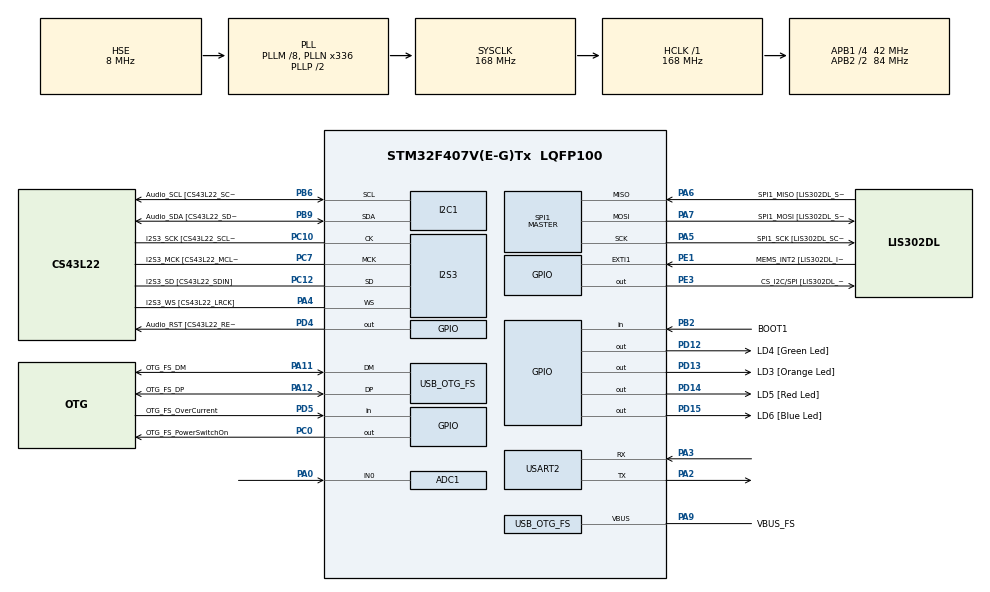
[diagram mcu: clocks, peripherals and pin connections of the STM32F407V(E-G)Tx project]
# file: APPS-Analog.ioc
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ADC1.Channel-0\#ChannelRegularConversion=ADC_CHANNEL_0
ADC1.NbrOfConversionFlag=1
ADC1.Rank-0\#ChannelRegularConversion=1
ADC1.SamplingTime-0\#ChannelRegularConversion=ADC_SAMPLETIME_3CYCLES
ADC1.master=1
I2S3.AudioFreq-Half_Duplex_Master=I2S_AUDIOFREQ_96K
I2S3.ErrorAudioFreq=-2.34 %
I2S3.ErrorAudioFreq-Half_Duplex_Master=0.8 %
I2S3.FullDuplexMode=I2S_FULLDUPLEXMODE_DISABLE
I2S3.Instance=SPI$Index
I2S3.RealAudioFreq=93.75 KHz
I2S3.RealAudioFreq-Half_Duplex_Master=96.774 KHz
I2S3.VirtualMode=I2S_MODE_MASTER
Mcu.Family=STM32F4
Mcu.Name=STM32F407V(E-G)Tx
Mcu.Package=LQFP100
NVIC.OTG_FS_IRQn=true\:0\:0\:false\:false\:true\:true\:true
NVIC.PriorityGroup=NVIC_PRIORITYGROUP_0
PA0-WKUP.Signal=ADCx_IN0
PA10.GPIO_Label=OTG_FS_ID
PA10.GPIO_Mode=GPIO_MODE_AF_PP
PA10.GPIO_PuPd=GPIO_NOPULL
PA10.GPIO_Speed=GPIO_SPEED_FREQ_LOW
PA10.Signal=USB_OTG_FS_ID
PA11.GPIO_Label=OTG_FS_DM
PA11.GPIO_Mode=GPIO_MODE_AF_PP
PA11.GPIO_PuPd=GPIO_NOPULL
PA11.GPIO_Speed=GPIO_SPEED_FREQ_LOW
PA11.Mode=Host_Only
PA11.Signal=USB_OTG_FS_DM
PA12.GPIO_Label=OTG_FS_DP
PA12.GPIO_Mode=GPIO_MODE_AF_PP
PA12.GPIO_PuPd=GPIO_NOPULL
PA12.GPIO_Speed=GPIO_SPEED_FREQ_LOW
PA12.Mode=Host_Only
PA12.Signal=USB_OTG_FS_DP
PA13.GPIO_Label=SWDIO
PA13.Mode=Serial_Wire
PA13.Signal=SYS_JTMS-SWDIO
PA14.GPIO_Label=SWCLK
PA14.Mode=Serial_Wire
PA14.Signal=SYS_JTCK-SWCLK
PA2.Mode=Asynchronous
PA2.Signal=USART2_TX
PA3.Mode=Asynchronous
PA3.Signal=USART2_RX
PA4.GPIO_Label=I2S3_WS [CS43L22_LRCK]
PA4.GPIO_Mode=GPIO_MODE_AF_PP
PA4.GPIO_PuPd=GPIO_NOPULL
PA4.GPIO_Speed=GPIO_SPEED_FREQ_LOW
PA4.Mode=Half_Duplex_Master
PA4.Signal=I2S3_WS
PA5.GPIO_Label=SPI1_SCK [LIS302DL_SCL/SPC]
PA5.GPIO_Mode=GPIO_MODE_AF_PP
PA5.GPIO_PuPd=GPIO_NOPULL
PA5.GPIO_Speed=GPIO_SPEED_FREQ_LOW
PA5.Mode=Full_Duplex_Master
PA5.Signal=SPI1_SCK
PA6.GPIO_Label=SPI1_MISO [LIS302DL_SDO]
PA6.GPIO_Mode=GPIO_MODE_AF_PP
PA6.GPIO_PuPd=GPIO_NOPULL
PA6.GPIO_Speed=GPIO_SPEED_FREQ_LOW
PA6.Mode=Full_Duplex_Master
PA6.Signal=SPI1_MISO
PA7.GPIO_Label=SPI1_MOSI [LIS302DL_SDA/SDI/SDO]
PA7.GPIO_Mode=GPIO_MODE_AF_PP
PA7.GPIO_PuPd=GPIO_NOPULL
PA7.GPIO_Speed=GPIO_SPEED_FREQ_LOW
PA7.Mode=Full_Duplex_Master
PA7.Signal=SPI1_MOSI
PA9.GPIO_Label=VBUS_FS
PA9.GPIO_Mode=GPIO_MODE_INPUT
PA9.GPIO_PuPd=GPIO_NOPULL
PA9.Mode=Activate_VBUS
PA9.Signal=USB_OTG_FS_VBUS
PB10.GPIO_Label=CLK_IN [MP45DT02_CLK]
PB10.GPIO_Mode=GPIO_MODE_AF_PP
PB10.GPIO_PuPd=GPIO_NOPULL
PB10.GPIO_Speed=GPIO_SPEED_FREQ_LOW
PB10.Signal=I2S2_CK
PB2.GPIO_Label=BOOT1
PB2.GPIO_Mode=GPIO_MODE_INPUT
PB2.GPIO_PuPd=GPIO_NOPULL
PB2.Signal=GPIO_Input
PB3.GPIO_Label=SWO
PB3.Signal=SYS_JTDO-SWO
PB6.GPIO_Label=Audio_SCL [CS43L22_SCL]
PB6.GPIO_Mode=GPIO_MODE_AF_OD
PB6.GPIO_PuPd=GPIO_NOPULL
PB6.GPIO_Speed=GPIO_SPEED_FREQ_LOW
PB6.Mode=I2C
PB6.Signal=I2C1_SCL
PB9.GPIO_Label=Audio_SDA [CS43L22_SDA]
PB9.GPIO_Mode=GPIO_MODE_AF_OD
PB9.GPIO_PuPd=GPIO_NOPULL
PB9.GPIO_Speed=GPIO_SPEED_FREQ_LOW
PB9.Mode=I2C
PB9.Signal=I2C1_SDA
PC0.GPIO_Label=OTG_FS_PowerSwitchOn
PC0.GPIO_PuPd=GPIO_NOPULL
PC0.GPIO_Speed=GPIO_SPEED_FREQ_LOW
PC0.PinState=GPIO_PIN_SET
PC0.Signal=GPIO_Output
PC10.GPIO_Label=I2S3_SCK [CS43L22_SCLK]
PC10.GPIO_Mode=GPIO_MODE_AF_PP
PC10.GPIO_PuPd=GPIO_NOPULL
PC10.GPIO_Speed=GPIO_SPEED_FREQ_LOW
PC10.Mode=Half_Duplex_Master
PC10.Signal=I2S3_CK
PC12.GPIO_Label=I2S3_SD [CS43L22_SDIN]
PC12.GPIO_Mode=GPIO_MODE_AF_PP
PC12.GPIO_PuPd=GPIO_NOPULL
PC12.GPIO_Speed=GPIO_SPEED_FREQ_LOW
PC12.Mode=Half_Duplex_Master
PC12.Signal=I2S3_SD
PC14-OSC32_IN.GPIO_Label=PC14-OSC32_IN
PC14-OSC32_IN.Mode=LSE-External-Oscillator
PC14-OSC32_IN.Signal=RCC_OSC32_IN
PC15-OSC32_OUT.GPIO_Label=PC15-OSC32_OUT
PC15-OSC32_OUT.Mode=LSE-External-Oscillator
PC15-OSC32_OUT.Signal=RCC_OSC32_OUT
PC3.GPIO_Label=PDM_OUT [MP45DT02_DOUT]
PC3.GPIO_Mode=GPIO_MODE_AF_PP
PC3.GPIO_PuPd=GPIO_NOPULL
PC3.GPIO_Speed=GPIO_SPEED_FREQ_LOW
PC3.Signal=I2S2_SD
PC7.GPIO_Label=I2S3_MCK [CS43L22_MCLK]
PC7.GPIO_Mode=GPIO_MODE_AF_PP
PC7.GPIO_PuPd=GPIO_NOPULL
PC7.GPIO_Speed=GPIO_SPEED_FREQ_LOW
PC7.Mode=Master_Clock_Activated
PC7.Signal=I2S3_MCK
PD12.GPIO_Label=LD4 [Green Led]
PD12.GPIO_PuPd=GPIO_NOPULL
PD12.GPIO_Speed=GPIO_SPEED_FREQ_LOW
PD12.Signal=GPIO_Output
PD13.GPIO_Label=LD3 [Orange Led]
PD13.GPIO_PuPd=GPIO_NOPULL
PD13.GPIO_Speed=GPIO_SPEED_FREQ_LOW
PD13.Signal=GPIO_Output
PD14.GPIO_Label=LD5 [Red Led]
PD14.GPIO_PuPd=GPIO_NOPULL
PD14.GPIO_Speed=GPIO_SPEED_FREQ_LOW
PD14.Signal=GPIO_Output
PD15.GPIO_Label=LD6 [Blue Led]
PD15.GPIO_PuPd=GPIO_NOPULL
PD15.GPIO_Speed=GPIO_SPEED_FREQ_LOW
PD15.Signal=GPIO_Output
PD4.GPIO_Label=Audio_RST [CS43L22_RESET]
PD4.GPIO_PuPd=GPIO_NOPULL
PD4.GPIO_Speed=GPIO_SPEED_FREQ_LOW
PD4.Signal=GPIO_Output
PD5.GPIO_Label=OTG_FS_OverCurrent
PD5.GPIO_Mode=GPIO_MODE_INPUT
PD5.GPIO_PuPd=GPIO_NOPULL
PD5.Signal=GPIO_Input
PE1.GPIO_Label=MEMS_INT2 [LIS302DL_INT2]
PE1.GPIO_ModeDefaultEXTI=GPIO_MODE_EVT_RISING
PE1.GPIO_PuPd=GPIO_NOPULL
PE1.Signal=GPXTI1
PE3.GPIO_Label=CS_I2C/SPI [LIS302DL_CS_I2C/SPI]
PE3.GPIO_PuPd=GPIO_NOPULL
PE3.GPIO_Speed=GPIO_SPEED_FREQ_LOW
PE3.Signal=GPIO_Output
PH0-OSC_IN.GPIO_Label=PH0-OSC_IN
PH0-OSC_IN.Mode=HSE-External-Oscillator
PH0-OSC_IN.Signal=RCC_OSC_IN
PH1-OSC_OUT.GPIO_Label=PH1-OSC_OUT
PH1-OSC_OUT.Mode=HSE-External-Oscillator
PH1-OSC_OUT.Signal=RCC_OSC_OUT
ProjectManager.HeapSize=0x200
ProjectManager.StackSize=0x400
ProjectManager.TargetToolchain=STM32CubeIDE
RCC.48MHZClocksFreq_Value=48000000
RCC.AHBFreq_Value=168000000
RCC.APB1CLKDivider=RCC_HCLK_DIV4
RCC.APB1Freq_Value=42000000
RCC.APB1TimFreq_Value=84000000
RCC.APB2CLKDivider=RCC_HCLK_DIV2
RCC.APB2Freq_Value=84000000
RCC.APB2TimFreq_Value=168000000
RCC.CortexFreq_Value=168000000
RCC.HCLKFreq_Value=168000000
RCC.HSE_VALUE=8000000
RCC.HSI_VALUE=16000000
RCC.PLLM=8
RCC.PLLN=336
RCC.PLLQ=7
RCC.SYSCLKFreq_VALUE=168000000
RCC.SYSCLKSource=RCC_SYSCLKSOURCE_PLLCLK
RCC.VCOOutputFreq_Value=336000000
SH.ADCx_IN0.0=ADC1_IN0,IN0
SPI1.BaudRatePrescaler-Full_Duplex_Master=SPI_BAUDRATEPRESCALER_2
SPI1.CalculateBaudRate-Full_Duplex_Master=42.0 MBits/s
SPI1.Direction=SPI_DIRECTION_2LINES
SPI1.Mode=SPI_MODE_MASTER
SPI1.Mode-Full_Duplex_Master=SPI_MODE_MASTER
SPI1.VirtualType=VM_MASTER
USART2.VirtualMode=VM_ASYNC
USB_HOST.BSP.number=1
USB_HOST.USBH_HandleTypeDef-CDC_FS=hUsbHostFS
USB_HOST.VirtualModeFS=Cdc
USB_HOST0.BSP.STBoard=false
USB_HOST0.BSP.api=Unknown
USB_HOST0.BSP.i2caddr=0
USB_HOST0.BSP.i2creg=0
USB_HOST0.BSP.instance=PC0
USB_HOST0.BSP.ip=GPIO
USB_HOST0.BSP.mode=Output
USB_HOST0.BSP.name=Drive_VBUS_FS
USB_HOST0.BSP.solution=PC0
USB_OTG_FS.VirtualMode=Host_Only
USB_OTG_FS.phy_itface=HCD_PHY_EMBEDDED
VP_USB_HOST_VS_USB_HOST_CDC_FS.Mode=CDC_FS
board=STM32F407G-DISC1

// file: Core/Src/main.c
/* USER CODE BEGIN Header */
/**
  ******************************************************************************
  * @file           : main.c
  * @brief          : Main program body
  ******************************************************************************
  * @attention
  *
  * <h2><center>&copy; Copyright (c) 2020 STMicroelectronics.
  * All rights reserved.</center></h2>
  *
  * This software component is licensed by ST under Ultimate Liberty license
  * SLA0044, the "License"; You may not use this file except in compliance with
  * the License. You may obtain a copy of the License at:
  *                             www.st.com/SLA0044
  *
  ******************************************************************************
  */
/* USER CODE END Header */
#include "main.h"
#include "usb_host.h"

/* USER CODE BEGIN Includes */
#include <string.h>
#include <math.h>
#include <stdio.h>
#include "demanded_torque_calculator_grt_rtw/demanded_torque_calculator.h"

/* USER CODE END Includes */

ADC_HandleTypeDef hadc1;

I2C_HandleTypeDef hi2c1;

I2S_HandleTypeDef hi2s3;

SPI_HandleTypeDef hspi1;

UART_HandleTypeDef huart2;

void SystemClock_Config(void);
static void MX_GPIO_Init(void);
static void MX_I2C1_Init(void);
static void MX_I2S3_Init(void);
static void MX_SPI1_Init(void);
static void MX_ADC1_Init(void);
static void MX_USART2_UART_Init(void);
void MX_USB_HOST_Process(void);

int main(void)
{
  /* USER CODE BEGIN 1 */
	uint16_t raw;
	uint16_t percent;
	uint16_t dmd_trq; // demanded torque
	uint16_t mtr_spd; // motor speed
	uint16_t max_cnt_pwr; // max continuous power
	char msg[10];     // used for transmitting

  /* USER CODE END 1 */

  /* MCU Configuration--------------------------------------------------------*/

  /* Reset of all peripherals, Initializes the Flash interface and the Systick. */
  HAL_Init();

  /* Configure the system clock */
  SystemClock_Config();

  /* Initialize all configured peripherals */
  MX_GPIO_Init();
  MX_I2C1_Init();
  MX_I2S3_Init();
  MX_SPI1_Init();
  MX_USB_HOST_Init();
  MX_ADC1_Init();
  MX_USART2_UART_Init();

  /* Infinite loop */
  /* USER CODE BEGIN WHILE */

  // TEMP VALUESSS
  max_cnt_pwr = 100;
  mtr_spd = 0;

  uint16_t calculate_max_torque(){
	  if (mtr_spd == 0){
		  return 240;
	  }

	  return max_cnt_pwr / mtr_spd;
  }

  /** Initialize torque calculator object  **/
  demanded_torque_calculator_initialize();

  while (1)
  {

	  /** Get ADC value **/
	  HAL_ADC_Start(&hadc1);
	  HAL_ADC_PollForConversion(&hadc1, HAL_MAX_DELAY);
	  raw = HAL_ADC_GetValue(&hadc1);

	  /** Convert [sensor voltage] -> [% throttle activated] **/
	  percent = round((raw/4095.0)*100.0);
	  percent = 100 - percent;

	  /** Set inputs for torque_calculator **/
	  demanded_torque_calculator_U.regen_percentage = 0; // regen not yet implemented
	  demanded_torque_calculator_U.throttle = percent;
	  demanded_torque_calculator_U.max_torque = calculate_max_torque();

	  /** Step (calculate model outputs from inputs) **/
	  demanded_torque_calculator_step();

	  /** Get outputs from torque_calculator object **/
	  dmd_trq = demanded_torque_calculator_Y.demanded_torque;

	  /** Convert to string and print to serial **/
	  sprintf(msg, "%hu\r\n", dmd_trq); // [percent] or [dmd_trq]
	  HAL_UART_Transmit(&huart2, (uint8_t*)msg, strlen(msg), HAL_MAX_DELAY);

	  /** Pretend we have something else to do for a while **/
	  HAL_Delay(1);

    /* USER CODE END WHILE */
    MX_USB_HOST_Process();

    /* USER CODE BEGIN 3 */
  }

  /** Terminate torque calculator object **/
  demanded_torque_calculator_terminate();

  /* USER CODE END 3 */
}

void SystemClock_Config(void)
{
  RCC_OscInitTypeDef RCC_OscInitStruct = {0};
  RCC_ClkInitTypeDef RCC_ClkInitStruct = {0};
  RCC_PeriphCLKInitTypeDef PeriphClkInitStruct = {0};

  /** Configure the main internal regulator output voltage
  */
  __HAL_RCC_PWR_CLK_ENABLE();
  __HAL_PWR_VOLTAGESCALING_CONFIG(PWR_REGULATOR_VOLTAGE_SCALE1);
  /** Initializes the RCC Oscillators according to the specified parameters
  * in the RCC_OscInitTypeDef structure.
  */
  RCC_OscInitStruct.OscillatorType = RCC_OSCILLATORTYPE_HSE;
  RCC_OscInitStruct.HSEState = RCC_HSE_ON;
  RCC_OscInitStruct.PLL.PLLState = RCC_PLL_ON;
  RCC_OscInitStruct.PLL.PLLSource = RCC_PLLSOURCE_HSE;
  RCC_OscInitStruct.PLL.PLLM = 8;
  RCC_OscInitStruct.PLL.PLLN = 336;
  RCC_OscInitStruct.PLL.PLLP = RCC_PLLP_DIV2;
  RCC_OscInitStruct.PLL.PLLQ = 7;
  if (HAL_RCC_OscConfig(&RCC_OscInitStruct) != HAL_OK)
  {
    Error_Handler();
  }
  /** Initializes the CPU, AHB and APB buses clocks
  */
  RCC_ClkInitStruct.ClockType = RCC_CLOCKTYPE_HCLK|RCC_CLOCKTYPE_SYSCLK
                              |RCC_CLOCKTYPE_PCLK1|RCC_CLOCKTYPE_PCLK2;
  RCC_ClkInitStruct.SYSCLKSource = RCC_SYSCLKSOURCE_PLLCLK;
  RCC_ClkInitStruct.AHBCLKDivider = RCC_SYSCLK_DIV1;
  RCC_ClkInitStruct.APB1CLKDivider = RCC_HCLK_DIV4;
  RCC_ClkInitStruct.APB2CLKDivider = RCC_HCLK_DIV2;

  if (HAL_RCC_ClockConfig(&RCC_ClkInitStruct, FLASH_LATENCY_5) != HAL_OK)
  {
    Error_Handler();
  }
  PeriphClkInitStruct.PeriphClockSelection = RCC_PERIPHCLK_I2S;
  PeriphClkInitStruct.PLLI2S.PLLI2SN = 192;
  PeriphClkInitStruct.PLLI2S.PLLI2SR = 2;
  if (HAL_RCCEx_PeriphCLKConfig(&PeriphClkInitStruct) != HAL_OK)
  {
    Error_Handler();
  }
}

static void MX_ADC1_Init(void)
{

  ADC_ChannelConfTypeDef sConfig = {0};

  /** Configure the global features of the ADC (Clock, Resolution, Data Alignment and number of conversion)
  */
  hadc1.Instance = ADC1;
  hadc1.Init.ClockPrescaler = ADC_CLOCK_SYNC_PCLK_DIV4;
  hadc1.Init.Resolution = ADC_RESOLUTION_12B;
  hadc1.Init.ScanConvMode = DISABLE;
  hadc1.Init.ContinuousConvMode = DISABLE;
  hadc1.Init.DiscontinuousConvMode = DISABLE;
  hadc1.Init.ExternalTrigConvEdge = ADC_EXTERNALTRIGCONVEDGE_NONE;
  hadc1.Init.ExternalTrigConv = ADC_SOFTWARE_START;
  hadc1.Init.DataAlign = ADC_DATAALIGN_RIGHT;
  hadc1.Init.NbrOfConversion = 1;
  hadc1.Init.DMAContinuousRequests = DISABLE;
  hadc1.Init.EOCSelection = ADC_EOC_SINGLE_CONV;
  if (HAL_ADC_Init(&hadc1) != HAL_OK)
  {
    Error_Handler();
  }
  /** Configure for the selected ADC regular channel its corresponding rank in the sequencer and its sample time.
  */
  sConfig.Channel = ADC_CHANNEL_0;
  sConfig.Rank = 1;
  sConfig.SamplingTime = ADC_SAMPLETIME_3CYCLES;
  if (HAL_ADC_ConfigChannel(&hadc1, &sConfig) != HAL_OK)
  {
    Error_Handler();
  }

}

static void MX_I2C1_Init(void)
{

  hi2c1.Instance = I2C1;
  hi2c1.Init.ClockSpeed = 100000;
  hi2c1.Init.DutyCycle = I2C_DUTYCYCLE_2;
  hi2c1.Init.OwnAddress1 = 0;
  hi2c1.Init.AddressingMode = I2C_ADDRESSINGMODE_7BIT;
  hi2c1.Init.DualAddressMode = I2C_DUALADDRESS_DISABLE;
  hi2c1.Init.OwnAddress2 = 0;
  hi2c1.Init.GeneralCallMode = I2C_GENERALCALL_DISABLE;
  hi2c1.Init.NoStretchMode = I2C_NOSTRETCH_DISABLE;
  if (HAL_I2C_Init(&hi2c1) != HAL_OK)
  {
    Error_Handler();
  }

}

static void MX_I2S3_Init(void)
{

  hi2s3.Instance = SPI3;
  hi2s3.Init.Mode = I2S_MODE_MASTER_TX;
  hi2s3.Init.Standard = I2S_STANDARD_PHILIPS;
  hi2s3.Init.DataFormat = I2S_DATAFORMAT_16B;
  hi2s3.Init.MCLKOutput = I2S_MCLKOUTPUT_ENABLE;
  hi2s3.Init.AudioFreq = I2S_AUDIOFREQ_96K;
  hi2s3.Init.CPOL = I2S_CPOL_LOW;
  hi2s3.Init.ClockSource = I2S_CLOCK_PLL;
  hi2s3.Init.FullDuplexMode = I2S_FULLDUPLEXMODE_DISABLE;
  if (HAL_I2S_Init(&hi2s3) != HAL_OK)
  {
    Error_Handler();
  }

}

static void MX_SPI1_Init(void)
{

  /* SPI1 parameter configuration*/
  hspi1.Instance = SPI1;
  hspi1.Init.Mode = SPI_MODE_MASTER;
  hspi1.Init.Direction = SPI_DIRECTION_2LINES;
  hspi1.Init.DataSize = SPI_DATASIZE_8BIT;
  hspi1.Init.CLKPolarity = SPI_POLARITY_LOW;
  hspi1.Init.CLKPhase = SPI_PHASE_1EDGE;
  hspi1.Init.NSS = SPI_NSS_SOFT;
  hspi1.Init.BaudRatePrescaler = SPI_BAUDRATEPRESCALER_2;
  hspi1.Init.FirstBit = SPI_FIRSTBIT_MSB;
  hspi1.Init.TIMode = SPI_TIMODE_DISABLE;
  hspi1.Init.CRCCalculation = SPI_CRCCALCULATION_DISABLE;
  hspi1.Init.CRCPolynomial = 10;
  if (HAL_SPI_Init(&hspi1) != HAL_OK)
  {
    Error_Handler();
  }

}

static void MX_USART2_UART_Init(void)
{

  huart2.Instance = USART2;
  huart2.Init.BaudRate = 115200;
  huart2.Init.WordLength = UART_WORDLENGTH_8B;
  huart2.Init.StopBits = UART_STOPBITS_1;
  huart2.Init.Parity = UART_PARITY_NONE;
  huart2.Init.Mode = UART_MODE_TX_RX;
  huart2.Init.HwFlowCtl = UART_HWCONTROL_NONE;
  huart2.Init.OverSampling = UART_OVERSAMPLING_16;
  if (HAL_UART_Init(&huart2) != HAL_OK)
  {
    Error_Handler();
  }

}

static void MX_GPIO_Init(void)
{
  GPIO_InitTypeDef GPIO_InitStruct = {0};

  /* GPIO Ports Clock Enable */
  __HAL_RCC_GPIOE_CLK_ENABLE();
  __HAL_RCC_GPIOC_CLK_ENABLE();
  __HAL_RCC_GPIOH_CLK_ENABLE();
  __HAL_RCC_GPIOA_CLK_ENABLE();
  __HAL_RCC_GPIOB_CLK_ENABLE();
  __HAL_RCC_GPIOD_CLK_ENABLE();

  /*Configure GPIO pin Output Level */
  HAL_GPIO_WritePin(CS_I2C_SPI_GPIO_Port, CS_I2C_SPI_Pin, GPIO_PIN_RESET);

  /*Configure GPIO pin Output Level */
  HAL_GPIO_WritePin(OTG_FS_PowerSwitchOn_GPIO_Port, OTG_FS_PowerSwitchOn_Pin, GPIO_PIN_SET);

  /*Configure GPIO pin Output Level */
  HAL_GPIO_WritePin(GPIOD, LD4_Pin|LD3_Pin|LD5_Pin|LD6_Pin
                          |Audio_RST_Pin, GPIO_PIN_RESET);

  /*Configure GPIO pin : CS_I2C_SPI_Pin */
  GPIO_InitStruct.Pin = CS_I2C_SPI_Pin;
  GPIO_InitStruct.Mode = GPIO_MODE_OUTPUT_PP;
  GPIO_InitStruct.Pull = GPIO_NOPULL;
  GPIO_InitStruct.Speed = GPIO_SPEED_FREQ_LOW;
  HAL_GPIO_Init(CS_I2C_SPI_GPIO_Port, &GPIO_InitStruct);

  /*Configure GPIO pin : OTG_FS_PowerSwitchOn_Pin */
  GPIO_InitStruct.Pin = OTG_FS_PowerSwitchOn_Pin;
  GPIO_InitStruct.Mode = GPIO_MODE_OUTPUT_PP;
  GPIO_InitStruct.Pull = GPIO_NOPULL;
  GPIO_InitStruct.Speed = GPIO_SPEED_FREQ_LOW;
  HAL_GPIO_Init(OTG_FS_PowerSwitchOn_GPIO_Port, &GPIO_InitStruct);

  /*Configure GPIO pin : PDM_OUT_Pin */
  GPIO_InitStruct.Pin = PDM_OUT_Pin;
  GPIO_InitStruct.Mode = GPIO_MODE_AF_PP;
  GPIO_InitStruct.Pull = GPIO_NOPULL;
  GPIO_InitStruct.Speed = GPIO_SPEED_FREQ_LOW;
  GPIO_InitStruct.Alternate = GPIO_AF5_SPI2;
  HAL_GPIO_Init(PDM_OUT_GPIO_Port, &GPIO_InitStruct);

  /*Configure GPIO pin : BOOT1_Pin */
  GPIO_InitStruct.Pin = BOOT1_Pin;
  GPIO_InitStruct.Mode = GPIO_MODE_INPUT;
  GPIO_InitStruct.Pull = GPIO_NOPULL;
  HAL_GPIO_Init(BOOT1_GPIO_Port, &GPIO_InitStruct);

  /*Configure GPIO pin : CLK_IN_Pin */
  GPIO_InitStruct.Pin = CLK_IN_Pin;
  GPIO_InitStruct.Mode = GPIO_MODE_AF_PP;
  GPIO_InitStruct.Pull = GPIO_NOPULL;
  GPIO_InitStruct.Speed = GPIO_SPEED_FREQ_LOW;
  GPIO_InitStruct.Alternate = GPIO_AF5_SPI2;
  HAL_GPIO_Init(CLK_IN_GPIO_Port, &GPIO_InitStruct);

  /*Configure GPIO pins : LD4_Pin LD3_Pin LD5_Pin LD6_Pin
                           Audio_RST_Pin */
  GPIO_InitStruct.Pin = LD4_Pin|LD3_Pin|LD5_Pin|LD6_Pin
                          |Audio_RST_Pin;
  GPIO_InitStruct.Mode = GPIO_MODE_OUTPUT_PP;
  GPIO_InitStruct.Pull = GPIO_NOPULL;
  GPIO_InitStruct.Speed = GPIO_SPEED_FREQ_LOW;
  HAL_GPIO_Init(GPIOD, &GPIO_InitStruct);

  /*Configure GPIO pin : OTG_FS_OverCurrent_Pin */
  GPIO_InitStruct.Pin = OTG_FS_OverCurrent_Pin;
  GPIO_InitStruct.Mode = GPIO_MODE_INPUT;
  GPIO_InitStruct.Pull = GPIO_NOPULL;
  HAL_GPIO_Init(OTG_FS_OverCurrent_GPIO_Port, &GPIO_InitStruct);

  /*Configure GPIO pin : MEMS_INT2_Pin */
  GPIO_InitStruct.Pin = MEMS_INT2_Pin;
  GPIO_InitStruct.Mode = GPIO_MODE_EVT_RISING;
  GPIO_InitStruct.Pull = GPIO_NOPULL;
  HAL_GPIO_Init(MEMS_INT2_GPIO_Port, &GPIO_InitStruct);

}

void Error_Handler(void)
{
}

/************************ (C) COPYRIGHT STMicroelectronics *****END OF FILE****/
